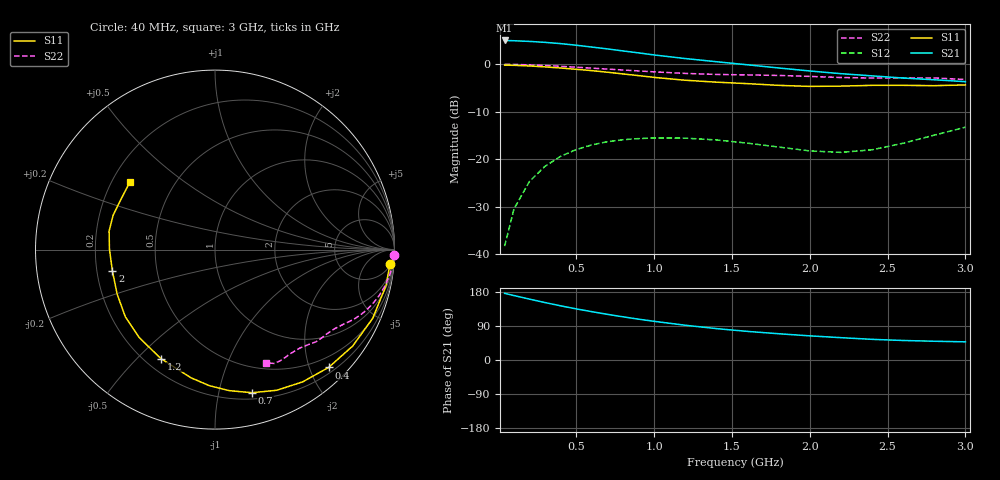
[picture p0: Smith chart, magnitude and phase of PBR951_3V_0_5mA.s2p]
! Filename:  PBR951A.S2P  Version:  3.0
! Philips part #:  PBR951  Date: July 1998
! Bias condition:  Vce=3V, Ic=0.5mA
#  MHz  S  MA  R 50
! Freq  S11  S21  S12  S22
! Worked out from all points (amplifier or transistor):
!   21 points, 40 MHz to 3 GHz, reference 50 ohm
!   highest |S21| = 5.0 dB at 40 MHz (marker M1)
!   |S21| within 3 dB of that: start of sweep to 988 MHz
!   unconditionally stable (mu >= 1): 1.879 GHz to end of sweep
!   at 300 MHz: K = 0.13, MSG = 13.0 dB, |S12| = -21.5 dB
!   at 1 GHz: K = 0.45, MSG = 8.7 dB, |S12| = -15.5 dB
!   at 3 GHz: K = 1.02, MAG = 3.9 dB, |S12| = -13.3 dB
!   S11 on the Smith chart (normalised r, x): 40 MHz: 6, -22; 400 MHz: 0.30, -2.32; 700 MHz: 0.25, -1.26; 1.2 GHz: 0.26, -0.59; 2 GHz: 0.27, -0.10; 3 GHz: 0.27, +0.32
40  0.9779 -4.8  1.78 175.9  0.01211 87.2  0.9983 -1.7
100  0.9739 -11.8  1.767 170.1  0.0299 82.6  0.9947 -4.1
200  0.9585 -23.5  1.739 160.6  0.05833 75.6  0.9841 -8.2
300  0.9366 -35.0  1.699 151.5  0.08425 69.2  0.9687 -12.0
400  0.9121 -46.0  1.649 142.9  0.1071 63.0  0.9505 -15.6
500  0.8839 -56.5  1.585 134.9  0.1262 57.6  0.9301 -18.8
600  0.8561 -66.2  1.516 127.6  0.1413 52.7  0.9095 -21.6
700  0.8237 -75.5  1.45 120.5  0.1526 48.3  0.8892 -24.1
800  0.7901 -84.2  1.381 114.0  0.16 44.4  0.8695 -26.2
900  0.7582 -92.5  1.317 107.8  0.1646 40.8  0.85 -28.1
1000  0.7266 -100.6  1.252 102.1  0.1671 37.7  0.8311 -29.8
1200  0.678 -116.4  1.147 91.7  0.1665 32.8  0.8003 -33.3
1400  0.6471 -130.7  1.063 82.9  0.1593 30.1  0.7809 -36.8
1600  0.6243 -143.2  0.9859 75.5  0.1474 30.6  0.7711 -39.8
1800  0.5989 -155.6  0.9132 69.3  0.1341 34.3  0.7618 -42.4
2000  0.5839 -168.2  0.8487 63.7  0.1222 42.0  0.744 -45.2
2200  0.5879 179.9  0.7952 58.9  0.1178 53.1  0.7243 -49.1
2400  0.599 170.1  0.754 54.5  0.1255 65.9  0.7155 -54.1
2600  0.599 161.3  0.715 51.5  0.1471 76.6  0.7186 -58.7
2800  0.5944 151.6  0.6856 49.5  0.179 83.3  0.7162 -62.4
3000  0.6051 141.7  0.6552 47.9  0.2169 87.0  0.6905 -65.9
